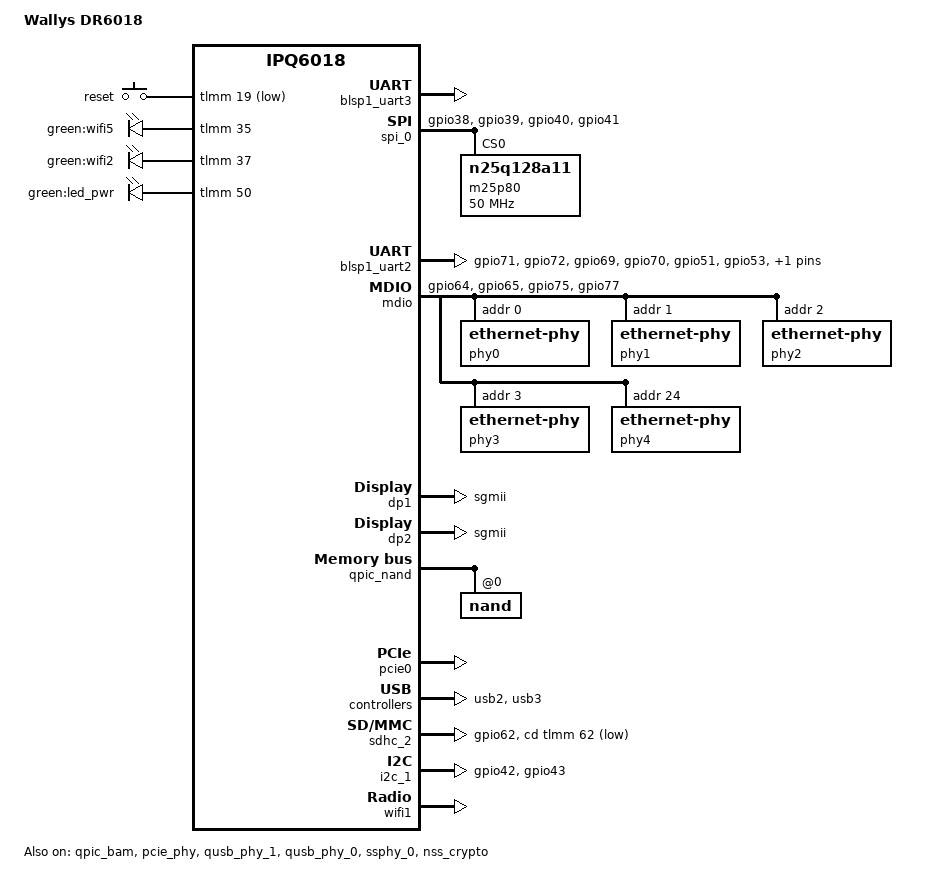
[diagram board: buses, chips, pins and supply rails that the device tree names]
// SPDX-License-Identifier: (GPL-2.0+ OR BSD-3-Clause)
/*
 * IPQ6018 CP01 board device tree source
 *
 * Copyright (c) 2019-2021 The Linux Foundation. All rights reserved.
 */

/dts-v1/;

#include "ipq6018.dtsi"
#include "ipq6018-cpr-regulator.dtsi"
#include <dt-bindings/input/input.h>

/ {
	model = "Wallys DR6018";
	compatible = "wallys,dr6018-v4", "qcom,ipq6018-cp01", "qcom,ipq6018";

	aliases {
		serial0 = &blsp1_uart3;
		serial1 = &blsp1_uart2;
		/*
		 * Aliases as required by u-boot
		 * to patch MAC addresses
		 */
		ethernet0 = "/soc/dp1";
		ethernet1 = "/soc/dp2";

		led-boot = &led_power;
		led-failsafe = &led_power;
		led-running = &led_power;
		led-upgrade = &led_power;
	};

	chosen {
		stdout-path = "serial0:115200n8";
		bootargs-append = " swiotlb=1";
	};
	reserved-memory {
		qcn9000_pcie0: qcn9000_pcie0@50200000 {
			no-map;
			reg = <0x0 0x50200000 0x0 0x03500000>;
		};
	};
};

&blsp1_uart3 {
	pinctrl-0 = <&serial_3_pins>;
	pinctrl-names = "default";
	status = "ok";
};

&spi_0 {
	pinctrl-0 = <&spi_0_pins>;
	pinctrl-names = "default";
	cs-select = <0>;
	status = "ok";

	m25p80@0 {
		#address-cells = <1>;
		#size-cells = <1>;
		reg = <0>;
		compatible = "n25q128a11";
		linux,modalias = "m25p80", "n25q128a11";
		spi-max-frequency = <50000000>;
		use-default-sizes;
	};
};

&blsp1_uart2 {
	pinctrl-0 = <&hsuart_pins &btcoex_pins>;
	pinctrl-names = "default";
	dmas = <&blsp_dma 2>,
		<&blsp_dma 3>;
	dma-names = "tx", "rx";
	status = "ok";
};

&spi_1 { /* BLSP1 QUP1 */
	pinctrl-0 = <&spi_1_pins>;
	pinctrl-names = "default";
	cs-select = <0>;
	quartz-reset-gpio = <&tlmm 79 1>;
	status = "disabled";
	spidev1: spi@1 {
		compatible = "qca,spidev";
		reg = <0>;
		spi-max-frequency = <24000000>;
	};
};

&tlmm {
	spi_0_pins: spi-0-pins {
		pins = "gpio38", "gpio39", "gpio40", "gpio41";
		function = "blsp0_spi";
		drive-strength = <8>;
		bias-pull-down;
	};

	spi_1_pins: spi_1_pins {
		mux {
			pins = "gpio69", "gpio71", "gpio72";
			function = "blsp1_spi";
			drive-strength = <8>;
			bias-pull-down;
		};
		spi_cs {
			pins = "gpio70";
			function = "blsp1_spi";
			drive-strength = <8>;
			bias-disable;
		};
		quartz_interrupt {
			pins = "gpio78";
			function = "gpio";
			input;
			bias-disable;
		};
		quartz_reset {
			pins = "gpio79";
			function = "gpio";
			output-low;
			bias-disable;
		};

	};

	sd_pins: sd-pinmux {
		pins = "gpio62";
		function = "sd_card";
		drive-strength = <8>;
		bias-pull-up;
	};

	mdio_pins: mdio_pinmux {
		mux_0 {
			pins = "gpio64";
			function = "mdc";
			drive-strength = <8>;
			bias-pull-up;
		};
		mux_1 {
			pins = "gpio65";
			function = "mdio";
			drive-strength = <8>;
			bias-pull-up;
		};
		mux_2 {
			pins = "gpio75";
			function = "gpio";
			bias-pull-up;
		};
		mux_3 {
			pins = "gpio77";
			function = "gpio";
			bias-pull-up;
		};
	};

	pwm_pins: pwm_pinmux {
		pins = "gpio18";
		function = "pwm00";
		drive-strength = <8>;
	};

	hsuart_pins: hsuart_pins {
		mux {
			pins = "gpio71", "gpio72", "gpio69", "gpio70";
			function = "blsp1_uart";
			drive-strength = <8>;
			bias-disable;
		};
	};

	button_pins: button_pins {
		wps_button {
			pins = "gpio19";
			function = "gpio";
			drive-strength = <8>;
			bias-pull-up;
		};
	};

	leds_pins: leds_pins {
		led_pwr {
                        pins = "gpio74";
                        function = "gpio";
                        drive-strength = <8>;
                        bias-pull-down;
                };
                led_5g {
                        pins = "gpio35";
                        function = "gpio";
                        drive-strength = <8>;
                        bias-pull-down;
                };
                led_2g {
                        pins = "gpio37";
                        function = "gpio";
                        drive-strength = <8>;
                        bias-pull-down;
                };
	};

	btcoex_pins: btcoex_pins {
		mux_0 {
			pins = "gpio51";
			function = "pta1_1";
			drive-strength = <6>;
			bias-pull-down;
		};
		mux_1 {
			pins = "gpio53";
			function = "pta1_0";
			drive-strength = <6>;
			bias-pull-down;
		};
		mux_2 {
			pins = "gpio52";
			function = "pta1_2";
			drive-strength = <6>;
			bias-pull-down;
		};
	};
};

&soc {
	mdio: mdio@90000 {
		pinctrl-0 = <&mdio_pins>;
		pinctrl-names = "default";
		phy-reset-gpio = <&tlmm 75 0 &tlmm 77 1>;
		status = "ok";
		phy0: ethernet-phy@0 {
			reg = <0>;
		};
		phy1: ethernet-phy@1 {
			reg = <1>;
		};
		phy2: ethernet-phy@2 {
			reg = <2>;
		};
		phy3: ethernet-phy@3 {
			reg = <3>;
		};
		phy4: ethernet-phy@4 {
			reg = <0x18>;
		};
	};

	dp1 {
		device_type = "network";
		compatible = "qcom,nss-dp";
		qcom,id = <1>;
		reg = <0x3a001000 0x200>;
		qcom,mactype = <0>;
		local-mac-address = [000000000000];
		qcom,link-poll = <1>;
		qcom,phy-mdio-addr = <0>;
		phy-mode = "sgmii";
	};

	dp2 {
		device_type = "network";
		compatible = "qcom,nss-dp";
		qcom,id = <2>;
		reg = <0x3a001200 0x200>;
		qcom,mactype = <0>;
		local-mac-address = [000000000000];
		qcom,link-poll = <1>;
		qcom,phy-mdio-addr = <1>;
		phy-mode = "sgmii";
	};

	ess-switch@3a000000 {
		switch_cpu_bmp = <0x1>;  /* cpu port bitmap */
		switch_lan_bmp = <0x4>; /* lan port bitmap */
		switch_wan_bmp = <0x2>; /* wan port bitmap */
		switch_inner_bmp = <0xc0>; /*inner port bitmap*/
		switch_mac_mode = <0x0>; /* mac mode for uniphy instance0*/
		switch_mac_mode1 = <0xf>; /* mac mode for uniphy instance1*/
		switch_mac_mode2 = <0xff>; /* mac mode for uniphy instance2*/
		qcom,port_phyinfo {
			port@0 {
				port_id = <1>;
				phy_address = <0>;
			};
			port@1 {
				port_id = <2>;
				phy_address = <1>;
			};
			port@2 {
				port_id = <3>;
				phy_address = <2>;
			};
			port@3 {
				port_id = <4>;
				phy_address = <3>;
			};
			port@4 {
				port_id = <5>;
				phy_address = <0x18>;
				port_mac_sel = "QGMAC_PORT";
			};
		};
	};

	nss-macsec0 {
		compatible = "qcom,nss-macsec";
		phy_addr = <0x18>;
		phy_access_mode = <0>;
		mdiobus = <&mdio>;
	};

	pwm {
		pinctrl-0 = <&pwm_pins>;
		pinctrl-names = "default";
	};

	gpio_keys {
		compatible = "gpio-keys";
		pinctrl-0 = <&button_pins>;
		pinctrl-names = "default";

		reset {
			label = "reset";
			linux,code = <KEY_RESTART>;
			gpios = <&tlmm 19 GPIO_ACTIVE_LOW>;
			linux,input-type = <1>;
			debounce-interval = <60>;
		};
	};

	leds {
		compatible = "gpio-leds";
		pinctrl-0 = <&leds_pins>;
		pinctrl-names = "default";

		led@25 {
			label = "green:wifi5";
			gpios = <&tlmm 35 GPIO_ACTIVE_HIGH>;
			linux,default-trigger = "green:5g";
			default-state = "off";
		};
		led@24 {
			label = "green:wifi2";
			gpios = <&tlmm 37 GPIO_ACTIVE_HIGH>;
			linux,default-trigger = "green:2g";
			default-state = "off";
		};
		led_power: led@16 {
			label = "green:led_pwr";
			gpios = <&tlmm 50 GPIO_ACTIVE_HIGH>;
			linux,default-trigger = "green:power";
			default-state = "off";
		};
	};
};

&qpic_bam {
	status = "ok";
};

&qpic_nand {
	status = "ok";

	nand@0 {
		reg = <0>;
		#address-cells = <1>;
		#size-cells = <1>;

		nand-ecc-strength = <4>;
		nand-ecc-step-size = <512>;
		nand-bus-width = <8>;
	};
};

&pcie_phy {
	status = "ok";
};

&pcie0 {
	status = "ok";
};

&qusb_phy_1 {
	status = "ok";
};

&usb2 {
	status = "ok";
};

&sdhc_2 {
	pinctrl-0 = <&sd_pins>;
	pinctrl-names = "default";
	cd-gpios = <&tlmm 62 GPIO_ACTIVE_LOW>;
	status = "ok";
};

&qusb_phy_0 {
	status = "ok";
};

&ssphy_0 {
	status = "ok";
};

&usb3 {
	status = "ok";
};

&nss_crypto {
	status = "ok";
};

&CPU0 {
	operating-points = <
		/* kHz   uV (fixed) */
		864000   1100000
		1056000  1100000
		1320000  1100000
		1440000  1100000
		1608000  1100000
		1800000  1100000
	>;
	clock-latency = <200000>;
};

&CPU1 {
	operating-points = <
		/* kHz   uV (fixed) */
		864000   1100000
		1056000  1100000
		1320000  1100000
		1440000  1100000
		1608000  1100000
		1800000  1100000
	>;
	clock-latency = <200000>;
};

&CPU2 {
	operating-points = <
		/* kHz   uV (fixed) */
		864000   1100000
		1056000  1100000
		1320000  1100000
		1440000  1100000
		1608000  1100000
		1800000  1100000
	>;
	clock-latency = <200000>;
};

&CPU3 {
	operating-points = <
		/* kHz   uV (fixed) */
		864000   1100000
		1056000  1100000
		1320000  1100000
		1440000  1100000
		1608000  1100000
		1800000  1100000
	>;
	clock-latency = <200000>;
};

&tlmm {
	gpio-reserved-ranges = <20 1>;

	i2c_1_pins: i2c_1_pins {
		mux {
			pins = "gpio42", "gpio43";
			function = "blsp2_i2c";
			drive-strength = <8>;
			bias-pull-down;
		};
	};
};

&i2c_1 {
	pinctrl-0 = <&i2c_1_pins>;
	pinctrl-names = "default";
	status = "ok";
};

&rpm_glink {
	status = "disabled";
};

&wifi1 {
	/* QCN9000 tgt-mem-mode=0 layout - 45MB
	 * +=========+==============+=========+
	 * |  Region | Start Offset |   Size  |
	 * +---------+--------------+---------+
	 * | HREMOTE |  0x50200000  |   35MB  |
	 * +---------+--------------+---------+
	 * | M3 Dump |  0x52500000  |   1MB   |
	 * +---------+--------------+---------+
	 * |   ETR   |  0x52600000  |   1MB   |
	 * +---------+--------------+---------+
	 * |  Caldb  |  0x52700000  |   8MB   |
	 * +---------+--------------+---------+
	 * | Pageable|  0x52F00000  |   8MB   |
	 * +==================================+
	 */
	base-addr = <0x50200000>;
	m3-dump-addr = <0x52500000>;
	etr-addr = <0x52600000>;
	caldb-addr = <0x52700000>;
	pageable-addr = <0x52F00000>;
	hremote-size = <0x2300000>;
	tgt-mem-mode = <0x0>;
	pageable-size = <0x800000>;
	hremote_node = <&qcn9000_pcie0>;
	board_id = <0xa4>;
	caldb-size = <0x800000>;
	status = "ok";
};

&pcie0 {
	pcie0_rp {
		reg = <0 0 0 0 0 >;

		mhi_0: qcom,mhi@0 {
			reg = <0 0 0 0 0 >;
			qrtr_instance_id = <0x20>;
		};
	};
};


